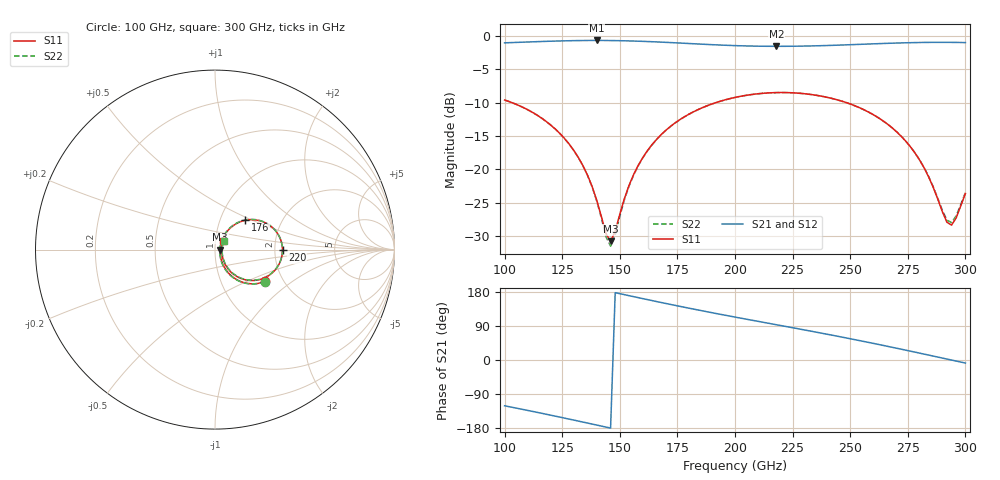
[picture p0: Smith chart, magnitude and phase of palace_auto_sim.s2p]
#  GHZ S DB R 50
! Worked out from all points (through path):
!   101 points, 100 GHz to 300 GHz, reference 50 ohm
!   highest |S21| = -0.68 dB at 140 GHz (marker M1); lowest = -1.6 dB at 218 GHz (marker M2)
!   group delay of S21, straight-line fit = 3.38 ps
!   lowest |S11| = -30.8 dB at 146 GHz (marker M3), VSWR 1.06, Z = 53 - j0.0209 ohm
!   |S11| at or under -10 dB: 103.1 GHz to 191.7 GHz (88.61 GHz wide, 60.1 % of centre); 248.3 GHz to end of sweep
!   |S22| runs from -31.5 to -8.5 dB; largest |S21 - S12| = 9.8e-14
!   S11 on the Smith chart (normalised r, x): 100 GHz: 1.62, -0.64; 176 GHz: 1.32, +0.46; 220 GHz: 2.21, -0.02; 300 GHz: 1.09, +0.10
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100  -9.61 -32.4  -1.04 -120.8  -1.04 -120.8  -9.61 -32.7
120  -13.36 -53.0  -0.79 -145.6  -0.79 -145.6  -13.36 -53.5
128  -16.22 -59.8  -0.72 -155.9  -0.72 -155.9  -16.23 -60.5
134  -19.46 -62.3  -0.69 -163.8  -0.69 -163.8  -19.49 -63.4
140  -24.65 -56.0  -0.68 -171.7  -0.68 -171.7  -24.78 -58.0
144  -29.64 -29.8  -0.69 -177.0  -0.69 -177.0  -30.13 -32.1
146  -30.83 -0.4  -0.69 -179.7  -0.69 -179.7  -31.53 -0.7
156  -20.79 56.4  -0.77 167.2  -0.77 167.2  -20.88 57.7
162  -17.20 55.4  -0.84 159.4  -0.84 159.4  -17.25 56.3
168  -14.79 51.2  -0.93 151.7  -0.93 151.7  -14.82 51.9
176  -12.57 44.0  -1.07 141.7  -1.07 141.7  -12.59 44.5
200  -9.22 20.0  -1.45 113.3  -1.45 113.3  -9.24 20.4
218  -8.50 1.4  -1.56 93.0  -1.56 93.0  -8.51 1.8
220  -8.49 -0.6  -1.56 90.8  -1.56 90.8  -8.50 -0.3
234  -8.83 -15.2  -1.49 74.9  -1.49 74.9  -8.84 -14.8
252  -10.47 -33.9  -1.29 53.7  -1.29 53.7  -10.48 -33.5
268  -13.73 -49.4  -1.09 33.8  -1.09 33.8  -13.73 -48.8
280  -18.54 -55.9  -0.99 18.3  -0.99 18.3  -18.52 -55.0
284  -21.10 -54.1  -0.97 13.0  -0.97 13.0  -21.05 -53.0
292  -27.96 -18.1  -0.97 2.5  -0.97 2.5  -27.63 -17.1
294  -28.37 4.0  -0.97 -0.2  -0.97 -0.2  -28.00 4.1
300  -23.63 45.3  -1.00 -8.1  -1.00 -8.1  -23.49 44.3
